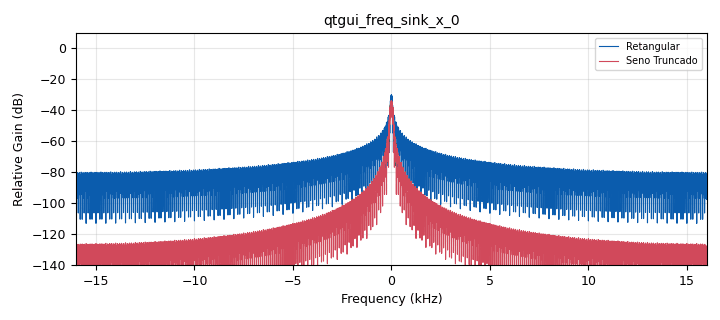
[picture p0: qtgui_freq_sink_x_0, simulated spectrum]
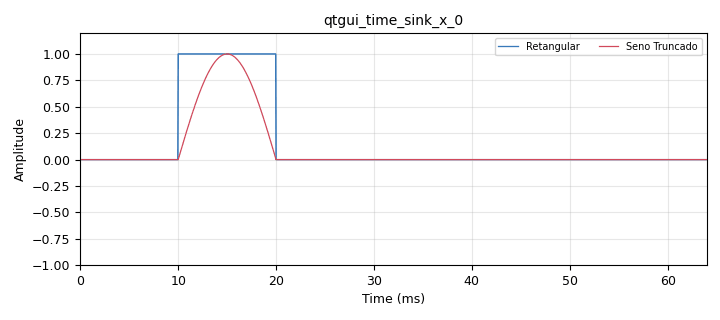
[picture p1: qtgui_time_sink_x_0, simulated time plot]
options:
  parameters:
    author: rcampello
    generate_options: qt_gui
    id: E2A
    output_language: python
    title: E2A
  states: {}

blocks:
- name: samp_rate
  id: variable
  parameters:
    value: '32000'
  states: {}
- name: tag1
  id: variable_tag_object
  parameters:
    key: pmt.intern("t0")
    offset: '0'
    src: pmt.intern("VecSrc")
    value: pmt.intern("0")
  states: {}
- name: tag2
  id: variable_tag_object
  parameters:
    key: pmt.intern("t1")
    offset: '0'
    src: pmt.intern("Vec2Src")
    value: pmt.intern("0")
  states: {}
- name: tau
  id: variable_qtgui_range
  parameters:
    orient: Qt.Horizontal
    start: '0'
    step: '0.001'
    stop: '0.03'
    value: '0.01'
  states: {}
- name: blocks_throttle_0
  id: blocks_throttle
  parameters:
    samples_per_second: samp_rate
    type: float
  states: {}
- name: blocks_vector_source_x_0
  id: blocks_vector_source_x
  parameters:
    repeat: 'True'
    tags: '[tag1]'
    type: float
    vector: np.hstack((np.ones(int(tau*samp_rate)), np.zeros(int((0.1-tau)*samp_rate))))
  states: {}
- name: blocks_vector_source_x_0_0
  id: blocks_vector_source_x
  parameters:
    repeat: 'True'
    tags: '[tag2]'
    type: float
    vector: np.hstack((np.sin(np.pi*np.arange(int(np.round(tau * samp_rate))) / (samp_rate * tau)), np.zeros(int((0.1-tau)*samp_rate))))
  states: {}
- name: import_0
  id: import
  parameters:
    imports: import numpy as np
  states: {}
- name: qtgui_freq_sink_x_0
  id: qtgui_freq_sink_x
  parameters:
    bw: samp_rate
    fc: '0'
    fftsize: 1024 * 8
    grid: 'True'
    gui_hint: 2, 1, 1, 1
    label1: Retangular
    label2: Seno Truncado
    nconnections: '2'
    type: float
    wintype: firdes.WIN_BLACKMAN_hARRIS
  states: {}
- name: qtgui_time_sink_x_0
  id: qtgui_time_sink_x
  parameters:
    grid: 'True'
    gui_hint: 2, 0, 1, 1
    label1: Retangular
    label2: Seno Truncado
    nconnections: '2'
    size: 1024 * 2
    srate: samp_rate
    tr_delay: '0.01'
    tr_mode: qtgui.TRIG_MODE_TAG
    tr_tag: '"t0"'
    type: float
    ymax: '1.2'
  states: {}

connections:
- [blocks_throttle_0, '0', qtgui_freq_sink_x_0, '0']
- [blocks_throttle_0, '0', qtgui_time_sink_x_0, '0']
- [blocks_vector_source_x_0, '0', blocks_throttle_0, '0']
- [blocks_vector_source_x_0_0, '0', qtgui_freq_sink_x_0, '1']
- [blocks_vector_source_x_0_0, '0', qtgui_time_sink_x_0, '1']

metadata:
  file_format: 1
